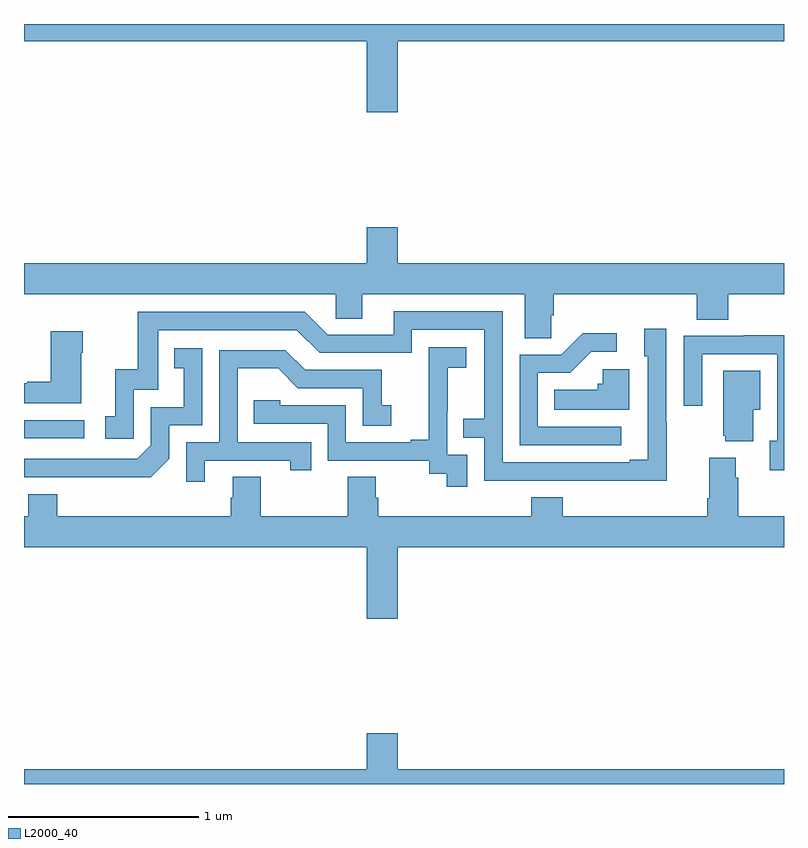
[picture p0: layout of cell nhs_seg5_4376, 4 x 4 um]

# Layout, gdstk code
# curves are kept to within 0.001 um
import gdstk
lib = gdstk.Library(unit=1e-6, precision=1e-09)
def R(c, l, rs):  # rectangles x0, y0, x1, y1
    for r in rs: c.add(gdstk.rectangle(r[:2], r[2:], *l))
def P(c, l, *ps):  # polygons
    for p in ps: c.add(gdstk.Polygon(p, *l))
L2000_40 = (2000, 40)

nhs_seg5_4376 = lib.new_cell('nhs_seg5_4376')
R(nhs_seg5_4376, L2000_40, [(367,906.618,367.318,906.714)])
P(nhs_seg5_4376, L2000_40, [(368.968,908.708),(371,908.708),(371,908.799),(367,908.799),(367,908.708),(368.804,908.708),(368.804,908.334),(368.968,908.334)],
  [(369.774,907.267),(369.788,907.267),(369.788,907.376),(370.541,907.376),(370.541,907.243),(370.706,907.243),(370.706,907.376),(371,907.376),(371,907.54),(368.968,907.54),(368.968,907.729),(368.804,907.729),(368.804,907.54),(367,907.54),(367,907.376),(368.64,907.376),(368.64,907.249),(368.779,907.249),(368.779,907.376),(369.635,907.376),(369.635,907.144),(369.774,907.144)],
  [(370.383,906.701),(370.38,906.701),(370.38,907.195),(370.265,907.195),(370.265,907.05),(370.284,907.05),(370.284,906.505),(370.187,906.505),(370.187,906.492),(369.519,906.492),(369.519,907.287),(368.945,907.287),(368.945,907.164),(368.598,907.164),(368.478,907.284),(367.599,907.284),(367.599,906.982),(367.481,906.982),(367.481,906.735),(367.428,906.735),(367.428,906.615),(367.578,906.615),(367.578,906.873),(367.707,906.873),(367.707,907.188),(368.436,907.188),(368.556,907.068),(369.042,907.068),(369.042,907.191),(369.423,907.191),(369.423,906.722),(369.313,906.722),(369.313,906.621),(369.423,906.621),(369.423,906.396),(370.383,906.395)],
  [(367.3,907.07),(367.308,907.07),(367.308,907.183),(367.142,907.183),(367.142,906.917),(367.016,906.917),(367.016,906.907),(367,906.907),(367,906.803),(367.3,906.803)],
  [(370.144,906.678),(369.705,906.678),(369.705,906.963),(369.874,906.963),(369.985,907.074),(370.12,907.074),(370.12,907.172),(369.941,907.172),(369.828,907.059),(369.609,907.059),(369.609,906.582),(370.144,906.582)],
  [(371,907.16),(370.789,907.16),(370.789,907.158),(370.473,907.158),(370.473,906.789),(370.569,906.789),(370.569,907.062),(370.965,907.062),(370.965,906.606),(370.925,906.606),(370.925,906.45),(371,906.45)],
  [(369.333,906.531),(369.228,906.531),(369.228,906.761),(369.23,906.761),(369.23,906.989),(369.328,906.989),(369.328,907.099),(369.13,907.099),(369.13,906.893),(369.131,906.893),(369.131,906.61),(369.035,906.61),(369.035,906.597),(368.694,906.597),(368.694,906.792),(368.349,906.792),(368.349,906.819),(368.209,906.819),(368.209,906.696),(368.598,906.696),(368.598,906.501),(369.132,906.501),(369.132,906.433),(369.225,906.433),(369.225,906.363),(369.333,906.363)],
  [(367.764,906.51),(367.764,906.687),(367.938,906.687),(367.938,907.093),(367.792,907.093),(367.792,906.987),(367.841,906.987),(367.841,906.783),(367.668,906.783),(367.668,906.582),(367.596,906.51),(367,906.51),(367,906.414),(367.666,906.413)],
  [(367.951,906.501),(368.402,906.501),(368.402,906.45),(368.513,906.45),(368.513,906.597),(368.124,906.597),(368.124,906.986),(368.338,906.986),(368.442,906.882),(368.784,906.882),(368.784,906.684),(368.932,906.684),(368.932,906.793),(368.883,906.793),(368.883,906.978),(368.479,906.978),(368.374,907.083),(368.028,907.083),(368.028,906.597),(367.854,906.597),(367.854,906.39),(367.951,906.39)],
  [(370.186,906.982),(370.047,906.982),(370.047,906.906),(370.021,906.906),(370.021,906.874),(369.79,906.874),(369.79,906.77),(370.186,906.77)],
  [(370.837,906.77),(370.876,906.77),(370.876,906.973),(370.679,906.973),(370.679,906.633),(370.691,906.633),(370.691,906.602),(370.837,906.602)],
  [(368.099,906.416),(368.099,906.306),(368.087,906.306),(368.087,906.208),(367.175,906.208),(367.175,906.325),(367.022,906.325),(367.022,906.208),(367,906.208),(367,906.044),(368.804,906.044),(368.804,905.67),(368.968,905.67),(368.968,906.044),(371,906.044),(371,906.208),(370.76,906.208),(370.76,906.41),(370.747,906.41),(370.747,906.517),(370.607,906.517),(370.607,906.304),(370.595,906.304),(370.595,906.208),(369.836,906.208),(369.836,906.307),(369.671,906.307),(369.671,906.208),(368.864,906.208),(368.864,906.306),(368.851,906.306),(368.851,906.416),(368.704,906.416),(368.704,906.208),(368.247,906.208),(368.247,906.416)],
  [(371,904.876),(368.968,904.876),(368.968,905.065),(368.804,905.065),(368.804,904.876),(367,904.876),(367,904.799),(371,904.799)])

lib.write_gds('nhs_seg5_4376.gds')
